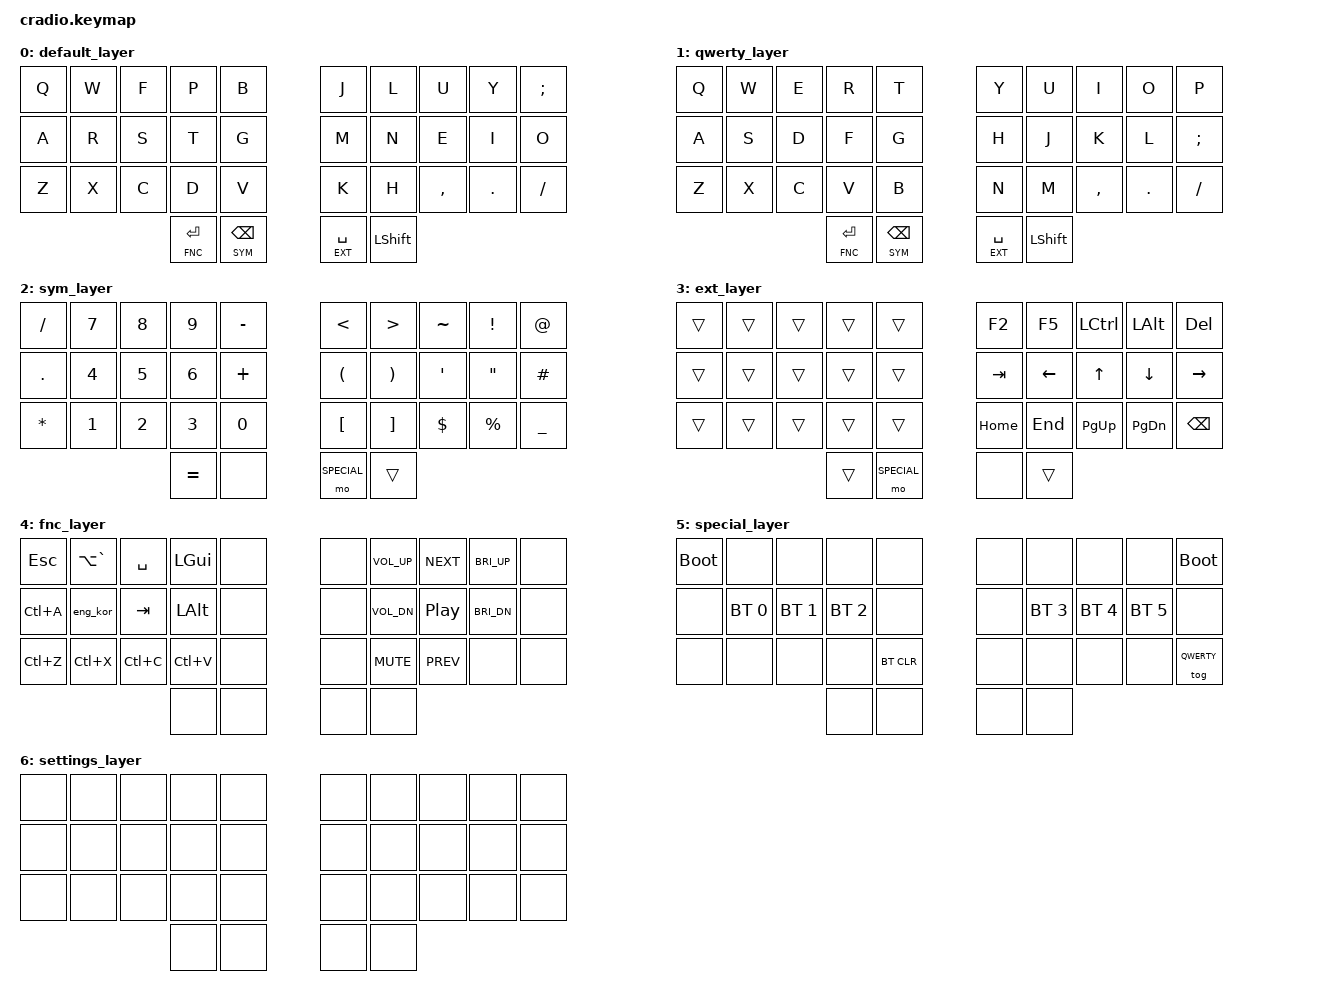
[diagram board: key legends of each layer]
/*
 * Copyright (c) 2020 The ZMK Contributors
 *
 * SPDX-License-Identifier: MIT
 */

#include <behaviors.dtsi>
#include <dt-bindings/zmk/keys.h>
#include <dt-bindings/zmk/bt.h>
#include "keymap_italian.h"

// Layer definitions
    #define COLEMAK 0
    #define QWERTY 1
    #define SYM 2
    #define EXT 3
    #define FNC 4
    #define SPECIAL 5
	#define SETTINGS 6
// -----------------

&mt {
   flavor = "tap-preferred";
   tapping_term_ms = <200>;
};

&sk {
    ignore-modifiers;
};

/ {
		macros {
				// sometimes my device thinks a modifier is being held down
				// pressing all modifiers fixes it.
				unstick: unstick {
					label = "ZM_unstick";
					compatible = "zmk,behavior-macro";
					#binding-cells = <0>;
					bindings
						= <&kp LSHIFT &kp RSHIFT &kp LCTRL &kp RCTRL &kp LALT &kp RALT &kp LGUI &kp RGUI>;
				};
				eng_kor: eng_kor {
            label = "ZM_eng_kor";
            compatible = "zmk,behavior-macro";
            #binding-cells = <0>;
            bindings
                = <&tog QWERTY &kp RALT>;
			};
		};

    combos {
        compatible = "zmk,combos";
				// both right thumb keys
        combo_settings {
            timeout-ms = <300>;
            key-positions = <32 33>;
            bindings = <&mo SETTINGS>;
        };
				// both left thumb keys
				combo_settings {
						timeout-ms = <300>;
						key-positions = <30 31>;
						bindings = <&mo SETTINGS>;
				};
    };

    keymap {
            compatible = "zmk,keymap";

        // COLEMAK Layer
       		default_layer {
		bindings = <
		&kp Q &kp W &kp F &kp P &kp B           &kp J &kp L  &kp U     &kp Y   &kp SEMI
		&kp A &kp R &kp S &kp T &kp G           &kp M &kp N  &kp E     &kp I   &kp O
		&kp Z &kp X &kp C &kp D &kp V           &kp K &kp H  &kp COMMA &kp DOT &kp SLASH
             &lt FNC ENTER &lt SYM BSPC         &lt EXT SPACE &kp LSHIFT
		>;
		};

        // QWERTY layer
       		qwerty_layer {
		bindings = <
		&kp Q &kp W &kp E &kp R &kp T           &kp Y &kp U  &kp I     &kp O   &kp P
		&kp A &kp S &kp D &kp F &kp G           &kp H &kp J  &kp K     &kp L   &kp SEMI
		&kp Z &kp X &kp C &kp V &kp B           &kp N &kp M  &kp COMMA &kp DOT &kp SLASH
             &lt FNC ENTER &lt SYM BSPC           &lt EXT SPACE &kp LSHIFT
		>;
		};

        // Numbers and high frequency symbols
       		sym_layer {
		bindings = <
		&kp SLASH &kp N7 &kp N8 &kp N9 &kp MINUS	   &kp LT   &kp GT   &kp TILDE &kp EXCL  &kp AT
		&kp DOT   &kp N4 &kp N5 &kp N6 &kp PLUS        &kp LPAR &kp RPAR &kp SQT   &kp DQT   &kp HASH
		&kp STAR  &kp N1 &kp N2 &kp N3 &kp N0 		   &kp LBKT &kp RBKT &kp DLLR  &kp PRCNT &kp UNDER
					          &kp EQUAL  &none         &mo SPECIAL &trans
		>;
		};

        // Main modifiers and arrow keys
		    ext_layer {
		bindings = <
		&trans  &trans &trans  &trans  &trans    		 &kp F2   &kp F5   &kp LCTRL &kp LALT   &kp DEL
		&trans  &trans &trans  &trans  &trans    		 &kp TAB  &kp LEFT &kp UP    &kp DOWN   &kp RIGHT
		&trans  &trans &trans  &trans  &trans    	     &kp HOME &kp END  &kp PG_UP &kp PG_DN  &kp BSPC
					           &trans  &mo SPECIAL       &none  &trans
		>;
		};

        // Functions
       		fnc_layer {
		bindings = <
		&kp ESC 	&kp LA(GRAVE) &kp SPACE &kp LGUI  &none      &none &kp C_VOL_UP &kp C_NEXT &kp C_BRI_UP &none
		&kp LC(A)   &eng_kor 	  &kp TAB 	&kp LALT  &none      &none &kp C_VOL_DN &kp C_PP   &kp C_BRI_DN &none
		&kp LC(Z)   &kp LC(X) 	  &kp LC(C) &kp LC(V) &none      &none &kp C_MUTE   &kp C_PREV &none 		&none
											&none 	  &none      &none &none  
		>;
		};

        // Special.
       		special_layer {
		bindings = <
		&bootloader &none 		 &none 		  &none 	   &none         &none &none 		&none 		 &none 		  &bootloader 
		&none       &bt BT_SEL 0 &bt BT_SEL 1 &bt BT_SEL 2 &none         &none &bt BT_SEL 3 &bt BT_SEL 4 &bt BT_SEL 5 &none
		&none       &none 		 &none 		  &none 	   &bt BT_CLR    &none &none 		&none 		 &none 		  &tog QWERTY
											  &none 	   &none         &none &none 
		>;
		};

        // Used to change the keyboard's settings.
       		settings_layer {
		bindings = <
		&none &none &none &none &none               &none &none &none &none &none  
		&none &none &none &none &none				&none &none &none &none &none 
		&none &none &none &none &none               &none &none &none &none &none 
          				  &none &none               &none &none 
		>;
		};
        
	};
};
